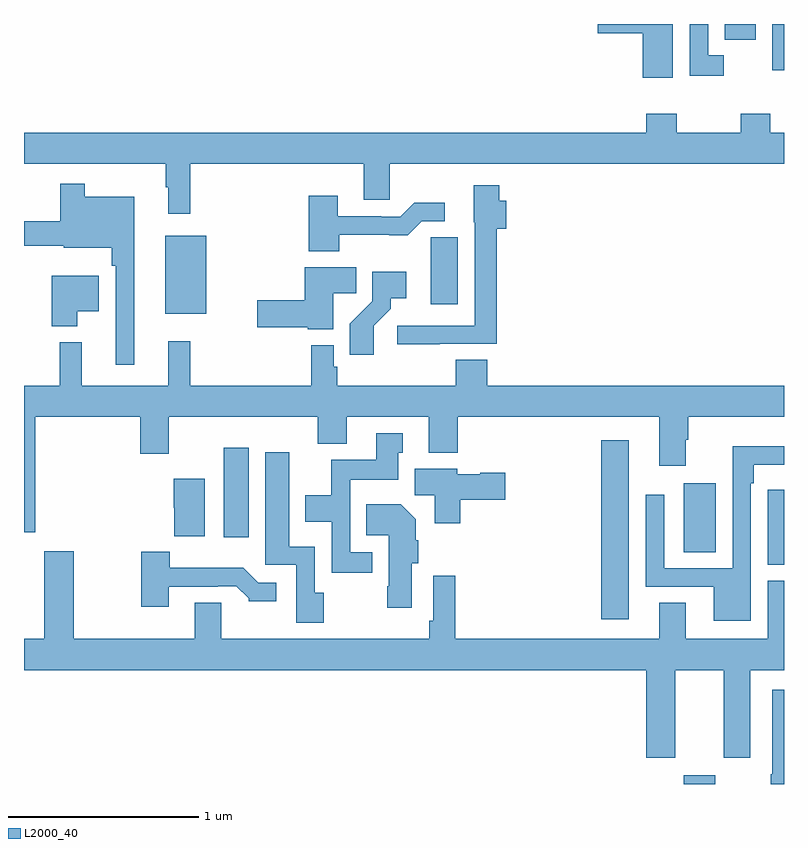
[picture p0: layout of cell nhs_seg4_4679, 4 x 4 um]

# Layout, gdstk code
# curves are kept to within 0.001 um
import gdstk
lib = gdstk.Library(unit=1e-6, precision=1e-09)
def R(c, l, rs):  # rectangles x0, y0, x1, y1
    for r in rs: c.add(gdstk.rectangle(r[:2], r[2:], *l))
def P(c, l, *ps):  # polygons
    for p in ps: c.add(gdstk.Polygon(p, *l))
L2000_40 = (2000, 40)

nhs_seg4_4679 = lib.new_cell('nhs_seg4_4679')
R(nhs_seg4_4679, L2000_40, [(366.473,782.9,366.637,782.947), (366.038,783.768,366.184,784.708), (366.473,784.12,366.64,784.483), (364.052,784.2,364.183,784.669), (363.743,785.375,363.958,785.785), (366.938,786.657,367,786.9), (366.689,786.816,366.85,786.9)])
P(nhs_seg4_4679, L2000_40, [(366.682,786.735),(366.6,786.735),(366.6,786.9),(366.504,786.9),(366.504,786.627),(366.682,786.627)],
  [(366.415,786.9),(366.02,786.9),(366.02,786.851),(366.257,786.851),(366.257,786.618),(366.415,786.618)],
  [(363.875,786.164),(364.787,786.164),(364.787,785.974),(364.926,785.974),(364.926,786.164),(367,786.164),(367,786.328),(366.927,786.328),(366.927,786.427),(366.772,786.427),(366.772,786.328),(366.435,786.328),(366.435,786.427),(366.275,786.427),(366.275,786.328),(363,786.328),(363,786.164),(363.747,786.164),(363.747,786.041),(363.758,786.041),(363.758,785.901),(363.875,785.901)],
  [(363.58,785.992),(363.319,785.992),(363.319,786.058),(363.19,786.058),(363.19,785.863),(363,785.863),(363,785.734),(363.209,785.734),(363.209,785.723),(363.463,785.723),(363.463,785.627),(363.483,785.627),(363.483,785.106),(363.58,785.106)],
  [(365.189,785.217),(365.489,785.217),(365.489,785.822),(365.537,785.822),(365.537,785.97),(365.502,785.97),(365.502,786.052),(365.366,786.052),(365.366,785.856),(365.373,785.856),(365.373,785.313),(364.965,785.313),(364.965,785.215),(365.189,785.215)],
  [(364.659,785.79),(365.021,785.789),(365.094,785.862),(365.215,785.862),(365.215,785.959),(365.053,785.959),(364.98,785.886),(364.88,785.886),(364.88,785.889),(364.651,785.889),(364.651,785.995),(364.499,785.995),(364.499,785.705),(364.659,785.705)],
  [(365.284,785.777),(365.142,785.777),(365.142,785.666),(365.141,785.666),(365.141,785.424),(365.284,785.424)],
  [(364.627,785.482),(364.748,785.482),(364.748,785.62),(364.478,785.62),(364.478,785.447),(364.227,785.447),(364.227,785.305),(364.494,785.305),(364.494,785.294),(364.627,785.294)],
  [(364.84,785.311),(364.93,785.401),(364.93,785.456),(365.011,785.456),(365.011,785.596),(364.833,785.596),(364.833,785.441),(364.714,785.322),(364.714,785.16),(364.84,785.16)],
  [(363.28,785.387),(363.394,785.387),(363.394,785.575),(363.146,785.575),(363.146,785.309),(363.28,785.309)],
  [(363,784.226),(363.058,784.226),(363.058,784.832),(363.611,784.832),(363.611,784.638),(363.763,784.638),(363.763,784.832),(364.547,784.832),(364.547,784.691),(364.699,784.691),(364.699,784.832),(365.129,784.832),(365.129,784.643),(365.282,784.643),(365.282,784.832),(366.344,784.832),(366.344,784.575),(366.484,784.575),(366.484,784.712),(366.497,784.712),(366.497,784.832),(367,784.832),(367,784.996),(365.438,784.996),(365.438,785.132),(365.273,785.132),(365.273,784.996),(364.649,784.996),(364.649,785.097),(364.629,785.097),(364.629,785.209),(364.513,785.209),(364.513,784.996),(363.875,784.996),(363.875,785.23),(363.758,785.23),(363.758,784.996),(363.305,784.996),(363.305,785.224),(363.187,785.224),(363.187,784.996),(363,784.996)],
  [(364.834,784.119),(364.716,784.119),(364.716,784.502),(364.969,784.502),(364.969,784.644),(364.993,784.644),(364.993,784.747),(364.853,784.747),(364.853,784.606),(364.618,784.606),(364.618,784.42),(364.481,784.42),(364.481,784.28),(364.62,784.28),(364.62,784.011),(364.834,784.011)],
  [(366.825,784.484),(366.841,784.484),(366.841,784.58),(367,784.58),(367,784.678),(366.729,784.678),(366.729,784.035),(366.369,784.035),(366.369,784.423),(366.273,784.423),(366.273,783.939),(366.629,783.939),(366.629,783.758),(366.825,783.758)],
  [(364.578,783.906),(364.53,783.906),(364.53,784.15),(364.396,784.15),(364.396,784.645),(364.271,784.645),(364.271,784.053),(364.434,784.053),(364.434,783.75),(364.578,783.75)],
  [(365.297,784.397),(365.533,784.397),(365.533,784.539),(365.4,784.539),(365.4,784.531),(365.28,784.531),(365.28,784.558),(365.057,784.558),(365.057,784.42),(365.162,784.42),(365.162,784.272),(365.297,784.272)],
  [(363.952,784.507),(363.788,784.507),(363.788,784.353),(363.79,784.353),(363.79,784.205),(363.952,784.205)],
  [(367,784.45),(366.915,784.45),(366.915,784.337),(366.914,784.337),(366.914,784.054),(367,784.054)],
  [(365.041,784.062),(365.075,784.062),(365.075,784.184),(365.062,784.184),(365.062,784.294),(364.984,784.372),(364.801,784.372),(364.801,784.208),(364.919,784.208),(364.919,783.94),(364.912,783.94),(364.912,783.828),(365.041,783.828)],
  [(366.427,783.5),(366.683,783.5),(366.683,783.039),(366.823,783.039),(366.823,783.5),(367,783.5),(367,783.969),(366.914,783.969),(366.914,783.664),(366.484,783.664),(366.484,783.854),(366.344,783.854),(366.344,783.664),(365.27,783.664),(365.27,783.997),(365.154,783.997),(365.154,783.76),(365.134,783.76),(365.134,783.664),(364.039,783.664),(364.039,783.854),(363.899,783.854),(363.899,783.664),(363.261,783.664),(363.261,784.126),(363.106,784.126),(363.106,783.664),(363,783.664),(363,783.5),(366.275,783.5),(366.275,783.039),(366.427,783.039)],
  [(363.763,783.939),(364.019,783.939),(364.019,783.942),(364.118,783.942),(364.182,783.878),(364.182,783.863),(364.327,783.863),(364.327,783.96),(364.233,783.96),(364.155,784.039),(363.766,784.039),(363.766,784.123),(363.616,784.123),(363.616,783.834),(363.763,783.834)],
  [(367,783.397),(366.938,783.397),(366.938,782.951),(366.931,782.951),(366.931,782.9),(367,782.9)])

lib.write_gds('nhs_seg4_4679.gds')
